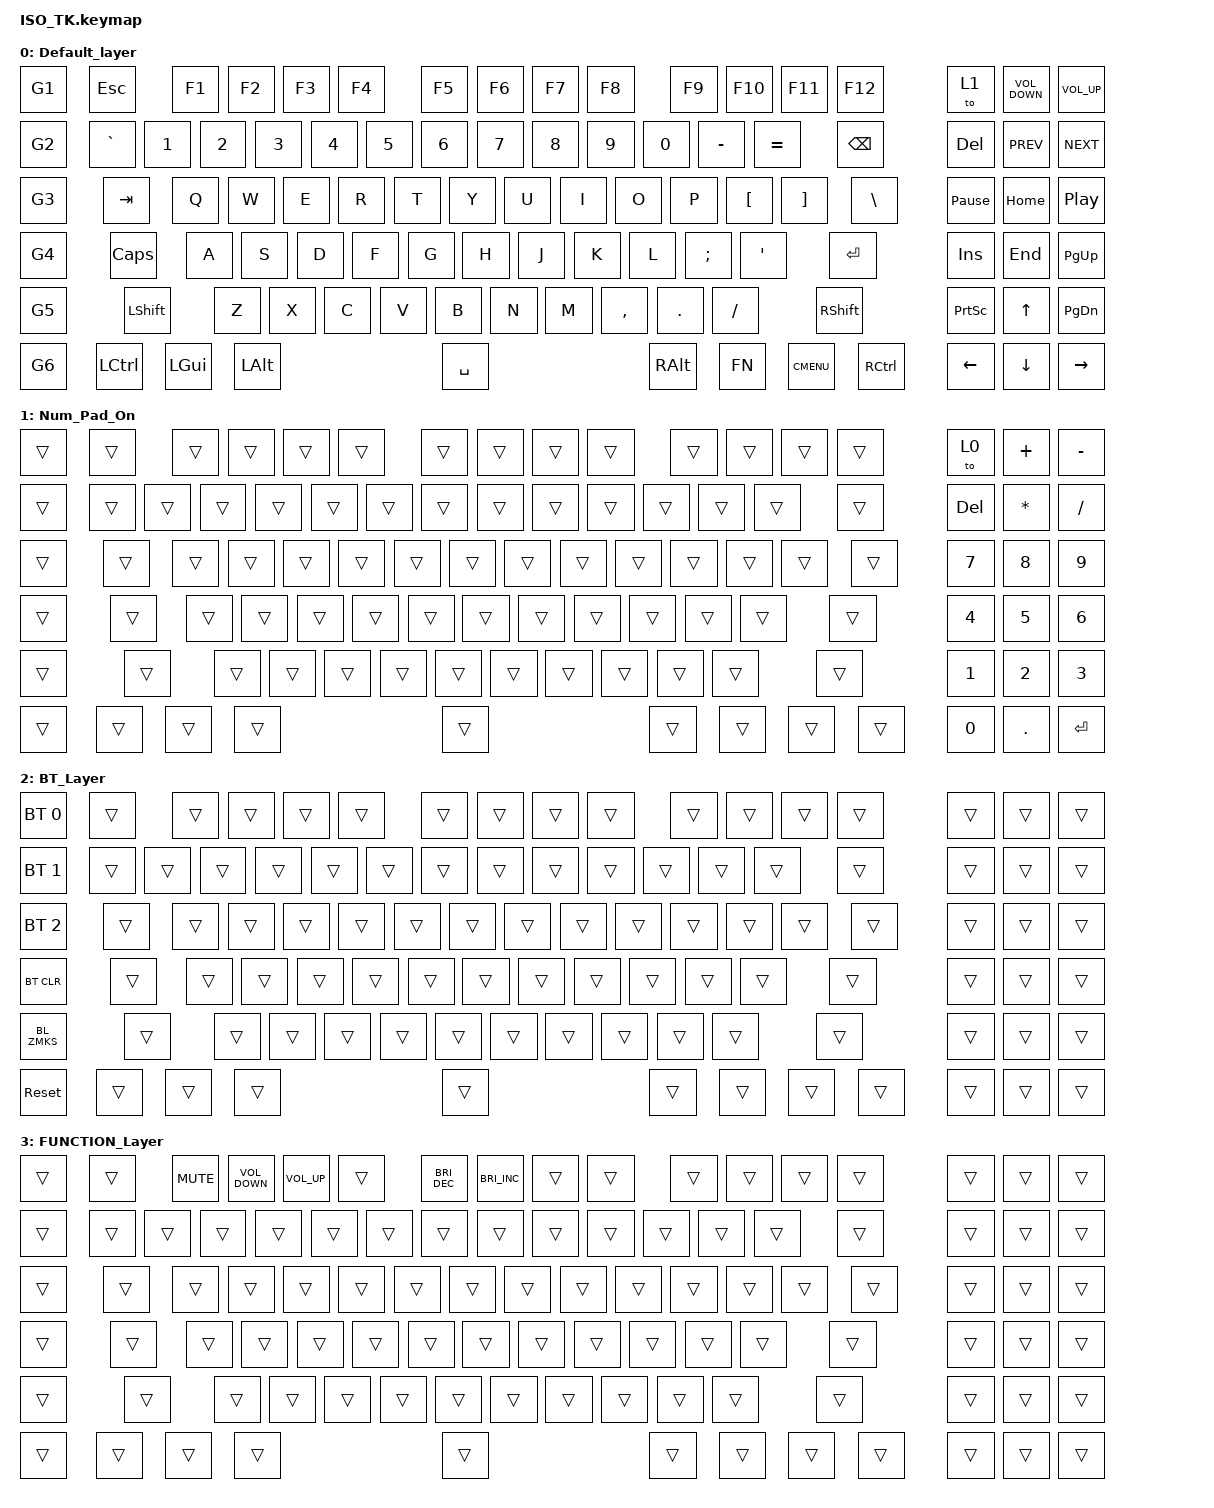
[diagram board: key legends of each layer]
#include <behaviors.dtsi>
#include <dt-bindings/zmk/bt.h>
#include <dt-bindings/zmk/keys.h>
//#include <dt-bindings/zmk/rgb.h>

/ {
    macros {
        G1: G1 {
            compatible = "zmk,behavior-macro";
            #binding-cells = <0>;
            bindings = <&kp G &kp N1>;
            //label = "G1";
        };

        G2: G2 {
            compatible = "zmk,behavior-macro";
            #binding-cells = <0>;
            bindings = <&kp G &kp N2>;
            //label = "G2";
        };

        G3: G3 {
            compatible = "zmk,behavior-macro";
            #binding-cells = <0>;
            bindings = <&kp G &kp N3>;
            //label = "G3";
        };

        G4: G4 {
            compatible = "zmk,behavior-macro";
            #binding-cells = <0>;
            bindings = <&kp G &kp N4>;
            //label = "G4";
        };

        G5: G5 {
            compatible = "zmk,behavior-macro";
            #binding-cells = <0>;
            bindings = <&kp G &kp N5>;
            //label = "G5";
        };

        G6: G6 {
            compatible = "zmk,behavior-macro";
            #binding-cells = <0>;
            bindings = <&kp G &kp N6>;
            //label = "G6";
        };
    };

    combos {
        compatible = "zmk,combos";

        Switch_to_BT_Mode {
            bindings = <&tog 2>;
            key-positions = <0 91 94>; //G0 ,RALT, RCTL
        };
    };

    behaviors {
        FN: tap_dance_0 {
            compatible = "zmk,behavior-tap-dance";
            #binding-cells = <0>;
            tapping-term-ms = <200>;
            bindings = <&mo 3>, <&tog 3>;
        };

        BL_ZMKS: tap_dance_1 {
            compatible = "zmk,behavior-tap-dance";
            #binding-cells = <0>;
            tapping-term-ms = <200>;
            bindings = <&studio_unlock>, <&bootloader>;
        };
    };


    keymap {
        compatible = "zmk,keymap";

        Default_layer {
            bindings = <
&G1  &kp ESC    &kp F1    &kp F2    &kp F3  &kp F4             &kp F5  &kp F6  &kp F7  &kp F8     &kp F9    &kp F10    &kp F11     &kp F12    &to 1            &kp C_VOLUME_DOWN  &kp C_VOLUME_UP
&G2  &kp GRAVE  &kp N1    &kp N2    &kp N3  &kp N4  &kp N5     &kp N6  &kp N7  &kp N8  &kp N9     &kp N0    &kp MINUS  &kp EQUAL   &kp BSPC   &kp DEL          &kp C_PREV         &kp C_NEXT
&G3  &kp TAB    &kp Q     &kp W     &kp E   &kp R   &kp T      &kp Y   &kp U   &kp I   &kp O      &kp P     &kp LBKT   &kp RBKT    &kp BSLH   &kp PAUSE_BREAK  &kp HOME           &kp C_PLAY_PAUSE
&G4  &kp CAPS   &kp A     &kp S     &kp D   &kp F   &kp G      &kp H   &kp J   &kp K   &kp L      &kp SEMI  &kp SQT                &kp RET    &kp INSERT       &kp END            &kp PAGE_UP
&G5  &kp LSHFT            &kp Z     &kp X   &kp C   &kp V      &kp B   &kp N   &kp M   &kp COMMA  &kp DOT   &kp FSLH               &kp RSHFT  &kp PRINTSCREEN  &kp UP             &kp PAGE_DOWN
&G6  &kp LCTRL  &kp LGUI  &kp LALT                  &kp SPACE                                     &kp RALT  &FN   &kp K_CMENU &kp RCTRL  &kp LEFT         &kp DOWN           &kp RIGHT
            >;
        };

        Num_Pad_On {
            bindings = <
&trans  &trans  &trans  &trans  &trans  &trans          &trans  &trans  &trans  &trans  &trans  &trans  &trans  &trans  &to 0    &kp PLUS  &kp MINUS
&trans  &trans  &trans  &trans  &trans  &trans  &trans  &trans  &trans  &trans  &trans  &trans  &trans  &trans  &trans  &kp DEL  &kp STAR  &kp FSLH
&trans  &trans  &trans  &trans  &trans  &trans  &trans  &trans  &trans  &trans  &trans  &trans  &trans  &trans  &trans  &kp N7   &kp N8    &kp N9
&trans  &trans  &trans  &trans  &trans  &trans  &trans  &trans  &trans  &trans  &trans  &trans  &trans          &trans  &kp N4   &kp N5    &kp N6
&trans  &trans          &trans  &trans  &trans  &trans  &trans  &trans  &trans  &trans  &trans  &trans          &trans  &kp N1   &kp N2    &kp N3
&trans  &trans  &trans  &trans                  &trans                                  &trans  &trans  &trans  &trans  &kp N0   &kp DOT   &kp RET
            >;
        };

        BT_Layer {
            bindings = <
&bt BT_SEL 0    &trans  &trans  &trans  &trans  &trans          &trans  &trans  &trans  &trans  &trans  &trans  &trans  &trans  &trans  &trans  &trans
&bt BT_SEL 1    &trans  &trans  &trans  &trans  &trans  &trans  &trans  &trans  &trans  &trans  &trans  &trans  &trans  &trans  &trans  &trans  &trans
&bt BT_SEL 2    &trans  &trans  &trans  &trans  &trans  &trans  &trans  &trans  &trans  &trans  &trans  &trans  &trans  &trans  &trans  &trans  &trans
&bt BT_CLR      &trans  &trans  &trans  &trans  &trans  &trans  &trans  &trans  &trans  &trans  &trans  &trans          &trans  &trans  &trans  &trans
&BL_ZMKS           &trans          &trans  &trans  &trans  &trans  &trans  &trans  &trans  &trans  &trans  &trans          &trans  &trans  &trans  &trans
&sys_reset      &trans  &trans  &trans                  &trans                                  &trans  &trans  &trans  &trans  &trans  &trans  &trans
            >;
        };

        FUNCTION_Layer {
            bindings = <
&trans    &trans  &kp C_MUTE  &kp C_VOLUME_DOWN  &kp C_VOLUME_UP  &trans           &kp C_BRI_DEC   &kp C_BRI_INC   &trans  &trans  &trans  &trans  &trans &trans  &trans  &trans  &trans
&trans    &trans  &trans      &trans             &trans           &trans   &trans  &trans          &trans          &trans  &trans  &trans  &trans  &trans  &trans &trans  &trans  &trans
&trans    &trans  &trans      &trans             &trans           &trans   &trans  &trans          &trans          &trans  &trans  &trans  &trans  &trans  &trans &trans  &trans  &trans
&trans    &trans  &trans      &trans             &trans           &trans   &trans  &trans          &trans          &trans  &trans  &trans  &trans          &trans &trans  &trans  &trans
&trans    &trans              &trans             &trans           &trans   &trans  &trans          &trans          &trans  &trans  &trans  &trans          &trans &trans  &trans  &trans
&trans    &trans  &trans      &trans                                       &trans                                                  &trans  &trans  &trans &trans  &trans  &trans  &trans
            >;
        };
    };
};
